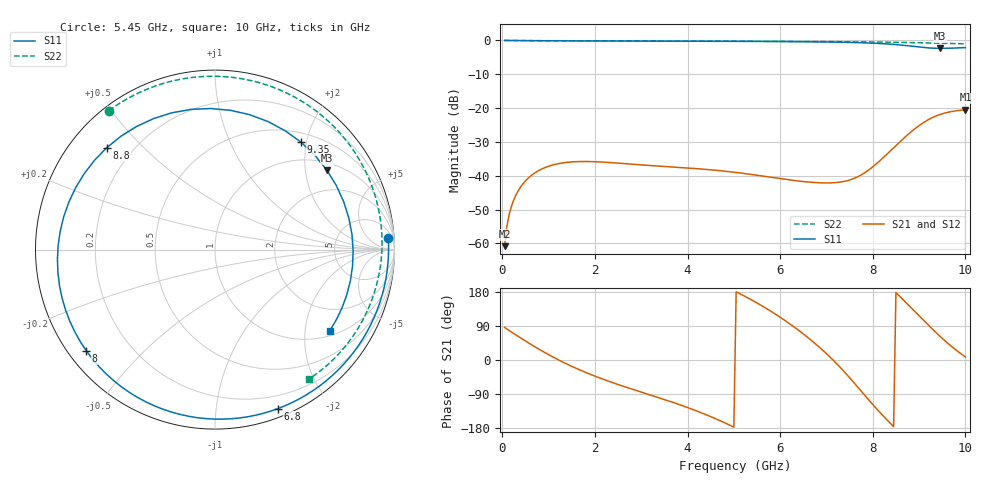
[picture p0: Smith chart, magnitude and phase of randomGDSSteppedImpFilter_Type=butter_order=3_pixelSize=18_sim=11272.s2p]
! freq	dB(S11)	phase(S11)	dB(S12)	phase(S12)
!  dB(S21)	phase(S21)	dB(S22)	phase(S22)
!S-par simulation data
#  GHz  S  DB  R 50
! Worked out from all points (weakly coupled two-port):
!   200 points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, 50 MHz to 10 GHz, reference 50 ohm
!   highest |S21| = -20.51 dB at 10 GHz (marker M1); lowest = -60.8 dB at 50 MHz (marker M2)
!   lowest |S11| = -2.3 dB at 9.45 GHz (marker M3), VSWR 7.49, Z = 61.5 + j131 ohm
!   |S11| at or under -10 dB: nowhere
!   |S22| runs from -1.0 to 0.0 dB; largest |S21 - S12| = 0
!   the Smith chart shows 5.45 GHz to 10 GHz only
!   S11 on the Smith chart (normalised r, x): 5.45 GHz: 11, +24; 6.8 GHz: 0.08, -1.47; 8 GHz: 0.05, -0.35; 8.8 GHz: 0.11, +0.39; 9.35 GHz: 0.66, +1.91; 10 GHz: 1.16, -2.71
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0.05  -0.00 -4.8  -60.83 86.0  -60.83 86.0  -0.00 -3.4
0.15  -0.02 -14.4  -51.39 77.7  -51.39 77.7  -0.01 -10.1
0.3  -0.04 -28.5  -45.56 65.7  -45.56 65.7  -0.03 -20.0
0.85  -0.09 -77.5  -38.02 24.4  -38.02 24.4  -0.07 -54.7
1.25  -0.12 -109.2  -36.33 -2.0  -36.33 -2.0  -0.09 -77.6
1.75  -0.14 -144.3  -35.79 -30.2  -35.79 -30.2  -0.11 -102.9
2.5  -0.16 169.3  -36.27 -64.7  -36.27 -64.7  -0.13 -135.2
3.4  -0.19 118.0  -37.18 -100.2  -37.18 -100.2  -0.15 -167.6
4.2  -0.22 73.3  -37.91 -134.6  -37.91 -134.6  -0.18 166.6
5.05  -0.26 25.9  -39.04 179.8  -39.04 179.8  -0.21 140.0
5.45  -0.28 3.9  -39.77 154.0  -39.77 154.0  -0.23 127.4
6.7  -0.40 -63.0  -41.97 49.2  -41.97 49.2  -0.31 85.4
6.8  -0.42 -68.3  -42.05 38.8  -42.05 38.8  -0.32 81.8
7.45  -0.56 -105.0  -41.47 -39.9  -41.47 -39.9  -0.38 57.5
8  -0.80 -141.8  -37.37 -117.5  -37.37 -117.5  -0.45 35.4
8.35  -1.07 -171.6  -33.05 -163.4  -33.05 -163.4  -0.52 20.6
8.8  -1.64 136.7  -27.34 141.2  -27.34 141.2  -0.62 1.0
9.1  -2.09 91.8  -24.24 104.3  -24.24 104.3  -0.71 -12.4
9.35  -2.31 51.2  -22.42 74.2  -22.42 74.2  -0.79 -23.7
9.45  -2.33 35.4  -21.90 62.7  -21.90 62.7  -0.82 -28.3
9.7  -2.27 -0.5  -21.02 35.9  -21.02 35.9  -0.90 -39.9
10  -2.12 -35.2  -20.51 8.1  -20.51 8.1  -1.00 -54.0
